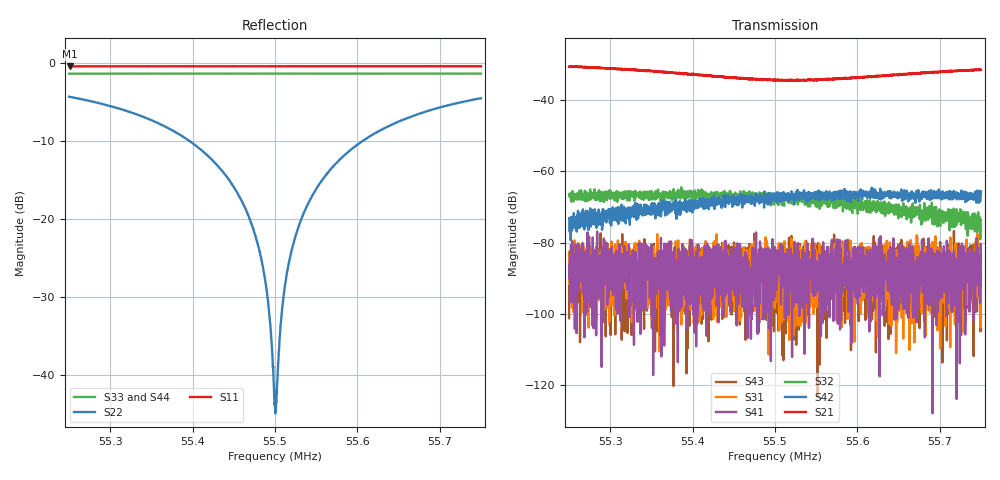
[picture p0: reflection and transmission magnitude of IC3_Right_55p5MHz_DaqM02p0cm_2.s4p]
#  HZ  S  DB  R  50.00
! Rohde & Schwarz Vector Network Analyzer
! Rohde-Schwarz,ZNB8-4Port,1311601044102961,2.82
! Created: UTC 2/13/2019, 12:01:59 PM
! freq[Hz]  db:S11  ang:S11  db:S12  ang:S12  db:S13  ang:S13  db:S14  ang:S14
!  db:S21  ang:S21  db:S22  ang:S22  db:S23  ang:S23  db:S24  ang:S24
!  db:S31  ang:S31  db:S32  ang:S32  db:S33  ang:S33  db:S34  ang:S34
!  db:S41  ang:S41  db:S42  ang:S42  db:S43  ang:S43  db:S44  ang:S44
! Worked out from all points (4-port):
!   2001 points, 55.25 MHz to 55.75 MHz, reference 50 ohm
!   strongest paths, dB at 55.25 MHz, 55.375 MHz, 55.5 MHz, 55.625 MHz, 55.75 MHz:
!     S21: -30.6, -32.3, -34.5, -33.2, -31.5
!     S42: -73.1, -70.9, -67.5, -67.5, -65.6
!     S32: -66.3, -68.1, -67.3, -70.0, -73.5
!     S41: -87.4, -82.7, -95.1, -81.2, -80.5
!     S31: -82.6, -87.6, -93.0, -106.2, -94.6
!     S43: -101.1, -83.2, -91.6, -87.1, -87.1
!   lowest |S11| = -0.5 dB at 55.2507 MHz (marker M1), VSWR 35.95, Z = 2.47 + j44 ohm
!   |S11| at or under -10 dB: nowhere
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5.525e7  -0.48 97.3  -30.48 69.0  -91.53 -139.0  -99.66 -81.5
         -30.63 68.7  -4.36 -156.6  -68.20 -164.4  -77.06 -23.2
         -82.56 93.9  -66.31 -169.2  -1.41 24.8  -83.48 -30.0
         -87.36 32.2  -73.09 -23.1  -101.13 39.9  -1.43 31.2
5.525075e7  -0.48 97.2  -30.56 68.4  -85.41 18.2  -85.26 -82.0
            -30.63 68.8  -4.38 -156.8  -67.83 -172.4  -72.27 -32.0
            -83.92 -40.5  -66.93 -174.9  -1.41 24.7  -87.27 -104.4
            -90.24 -47.4  -76.85 -13.0  -86.64 176.4  -1.43 31.2
5.544475e7  -0.47 93.6  -33.65 65.4  -85.65 -145.5  -91.06 111.5
            -33.69 66.5  -15.10 162.6  -67.45 155.7  -67.72 -58.1
            -84.31 102.6  -65.93 151.9  -1.40 22.3  -83.15 -59.7
            -85.98 146.2  -68.63 -47.0  -87.33 -67.9  -1.42 28.8
5.548325e7  -0.47 92.9  -34.08 69.9  -93.21 -47.8  -88.27 83.7
            -34.27 70.4  -25.11 157.3  -68.33 148.4  -66.70 -54.2
            -100.95 -177.4  -67.64 143.7  -1.40 21.8  -78.91 44.8
            -89.42 -37.2  -68.60 -56.7  -93.51 154.1  -1.42 28.4
5.55005e7  -0.46 92.6  -34.28 72.9  -92.64 166.5  -84.74 171.3
           -34.37 72.4  -44.85 -125.3  -66.44 138.2  -66.36 -55.3
           -86.29 46.5  -66.35 138.7  -1.40 21.7  -95.94 109.8
           -81.88 -77.5  -67.88 -72.8  -85.15 67.4  -1.43 28.1
5.555525e7  -0.46 91.6  -34.19 81.0  -93.84 -75.0  -96.83 -107.7
            -34.23 81.2  -15.31 -50.3  -68.71 138.2  -66.37 -79.0
            -96.75 -94.2  -68.85 129.4  -1.40 21.0  -85.16 166.1
            -89.68 -135.7  -67.47 -78.9  -86.68 179.1  -1.42 27.5
5.575e7  -0.46 88.0  -31.38 86.2  -89.17 -73.4  -82.96 81.3
         -31.48 86.3  -4.55 -90.6  -75.72 111.2  -66.38 -107.5
         -94.60 -72.4  -73.49 102.9  -1.40 18.5  -88.35 -79.5
         -80.48 122.1  -65.56 -107.0  -87.10 176.9  -1.42 25.1
